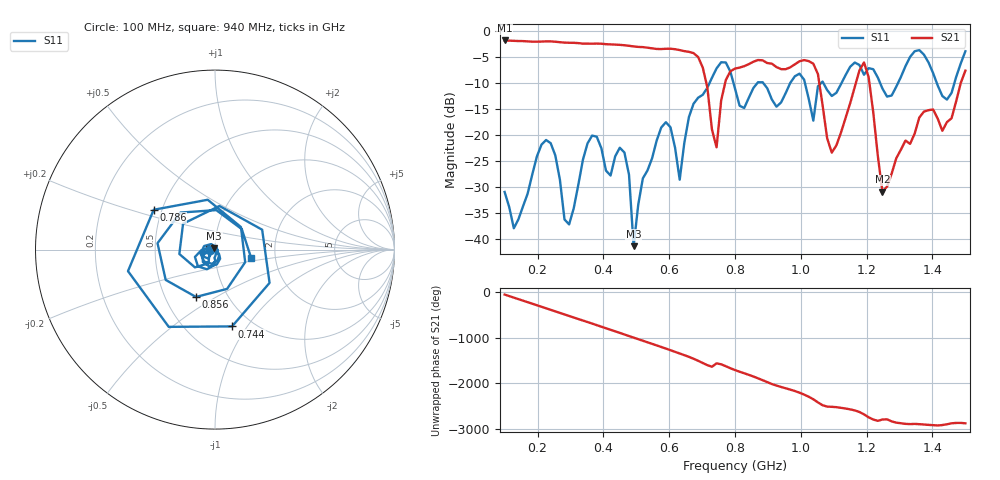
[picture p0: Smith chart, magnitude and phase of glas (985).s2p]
! NanoVNA-App
! Date: 2025-09-25 16:03:08
! Start: 100MHz Stop: 1,5GHz Points: 101
! S-Parameter data: F S11 S21 S12 S22
# Hz S RI R 50
!  Frequency  S11_Real  S11_Imag  S21_Real  S21_Imag  S12_Real  S12_Imag  S22_Real  S22_Imag
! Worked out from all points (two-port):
!   101 points, 100 MHz to 1.5 GHz, reference 50 ohm
!   highest |S21| = -1.80 dB at 100 MHz (marker M1); lowest = -30.9 dB at 1.248 GHz (marker M2)
!   |S21| within 3 dB of the highest: start of sweep to 684.5 MHz
!   lowest |S11| = -41.3 dB at 492 MHz (marker M3), VSWR 1.02, Z = 49.5 + j0.657 ohm
!   |S11| at or under -10 dB: start of sweep to 722.5 MHz; 795.5 MHz to 867.8 MHz (72.29 MHz wide, 8.69 % of centre); 886 MHz to 967.6 MHz (81.65 MHz wide, 8.81 % of centre) (the widest 3 of 7)
!   S12 and S22 are empty: the file has one direction only
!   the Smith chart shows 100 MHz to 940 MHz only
!   S11 on the Smith chart (normalised r, x): 100 MHz: 0.94, -0.01; 744 MHz: 0.81, -0.85; 786 MHz: 0.45, +0.24; 856 MHz: 0.71, -0.41; 940 MHz: 1.50, -0.14
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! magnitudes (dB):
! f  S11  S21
! 100 MHz  -30.9  -1.8
! 128 MHz  -37.9  -1.9
! 226 MHz  -20.9  -2.0
! 296 MHz  -37.2  -2.2
! 338 MHz  -24.7  -2.4
! 464 MHz  -23.3  -2.7
! 492 MHz  -41.3  -2.9
! 576 MHz  -18.5  -3.5
! 632 MHz  -28.6  -3.7
! 702 MHz  -12.2  -7.0
! 744 MHz  -7.2  -22.3
! 786 MHz  -7.8  -7.7
! 800 MHz  -11.0  -7.2
! 856 MHz  -10.9  -5.9
! 940 MHz  -13.7  -7.3
! 996 MHz  -8.2  -5.8
! 1.038 GHz  -17.2  -6.3
! 1.094 GHz  -12.5  -23.4
! 1.192 GHz  -8.4  -6.0
! 1.248 GHz  -11.1  -30.9
! 1.276 GHz  -12.4  -27.4
! 1.5 GHz  -3.9  -7.6
